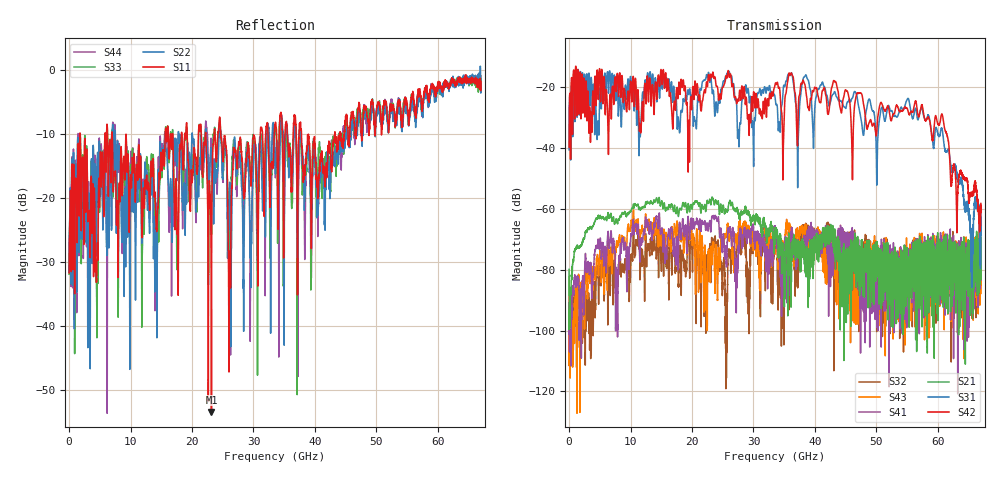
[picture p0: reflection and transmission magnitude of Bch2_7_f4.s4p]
!Agilent Technologies,N5247A,US51170199,A.09.90.13
!Agilent N5247A: A.09.90.13
!Date: Thursday, October 18, 2018 11:15:22
!Correction: S11(Full 4 Port(1,2,3,4))
!S12(Full 4 Port(1,2,3,4))
!S13(Full 4 Port(1,2,3,4))
!S14(Full 4 Port(1,2,3,4))
!S21(Full 4 Port(1,2,3,4))
!S22(Full 4 Port(1,2,3,4))
!S23(Full 4 Port(1,2,3,4))
!S24(Full 4 Port(1,2,3,4))
!S31(Full 4 Port(1,2,3,4))
!S32(Full 4 Port(1,2,3,4))
!S33(Full 4 Port(1,2,3,4))
!S34(Full 4 Port(1,2,3,4))
!S41(Full 4 Port(1,2,3,4))
!S42(Full 4 Port(1,2,3,4))
!S43(Full 4 Port(1,2,3,4))
!S44(Full 4 Port(1,2,3,4))
!S4P File: Measurements: <S11,S12,S13,S14>,
!<S21,S22,S23,S24>,
!<S31,S32,S33,S34>,
!<S41,S42,S43,S44>:
# Hz S  dB  R 50
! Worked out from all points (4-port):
!   6701 points, 10 MHz to 67 GHz, reference 50 ohm
!   strongest paths, dB at 10 MHz, 16.76 GHz, 33.51 GHz, 50.25 GHz, 67 GHz:
!     S42: -39.6, -29.6, -19.1, -29.3, -58.2
!     S31: -40.5, -21.8, -23.1, -35.8, -61.5
!     S21: -79.9, -58.5, -68.4, -82.1, -72.8
!     S41: -91.1, -66.7, -66.0, -100.0, -83.1
!     S43: -82.1, -65.8, -74.9, -77.0, -73.2
!     S32: -93.7, -78.7, -70.5, -81.8, -74.7
!   lowest |S11| = -53.5 dB at 23.17 GHz (marker M1), VSWR 1.00, Z = 49.9 + j0.2 ohm
!   |S11| at or under -10 dB: 7.025 GHz to 15.65 GHz (8.621 GHz wide, 76.1 % of centre); 24.68 GHz to 31.12 GHz (6.446 GHz wide, 23.1 % of centre); 37.81 GHz to 43.22 GHz (5.409 GHz wide, 13.3 % of centre)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
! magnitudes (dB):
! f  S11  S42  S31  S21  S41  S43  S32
! 10 MHz  -31.7  -39.6  -40.5  -79.9  -91.1  -82.1  -93.7
! 1.31 GHz  -27.0  -18.3  -29.5  -72.0  -83.1  -112.8  -92.5
! 19.39 GHz  -14.4  -45.9  -21.6  -58.2  -62.8  -63.3  -67.8
! 23.17 GHz  -53.5  -16.6  -18.5  -57.3  -63.9  -72.3  -70.8
! 50.12 GHz  -5.8  -32.6  -44.7  -81.2  -86.8  -72.7  -81.9
! 55.11 GHz  -6.3  -27.4  -23.7  -86.2  -74.6  -74.3  -78.5
! 67 GHz  -3.2  -58.2  -61.5  -72.8  -83.1  -73.2  -74.7
